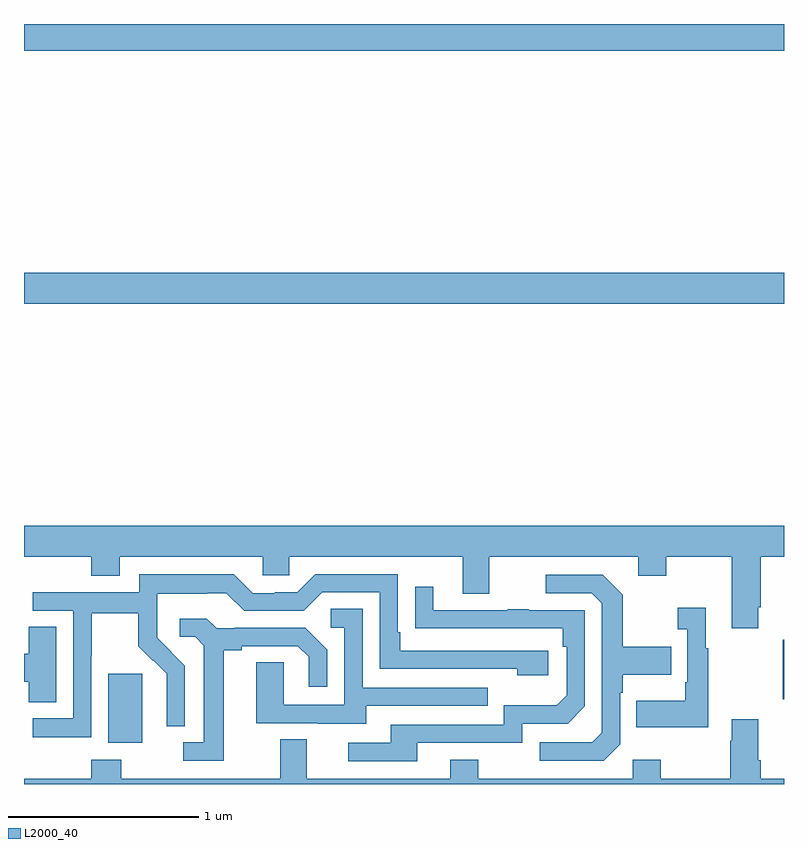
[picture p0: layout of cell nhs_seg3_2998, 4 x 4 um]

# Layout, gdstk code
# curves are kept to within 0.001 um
import gdstk
lib = gdstk.Library(unit=1e-6, precision=1e-09)
def R(c, l, rs):  # rectangles x0, y0, x1, y1
    for r in rs: c.add(gdstk.rectangle(r[:2], r[2:], *l))
def P(c, l, *ps):  # polygons
    for p in ps: c.add(gdstk.Polygon(p, *l))
L2000_40 = (2000, 40)

nhs_seg3_2998 = lib.new_cell('nhs_seg3_2998')
R(nhs_seg3_2998, L2000_40, [(267.443,686.618,267.622,686.979), (270.994,686.847,271,687.158), (267,688.928,271,689.092), (267,690.26,271,690.4)])
P(nhs_seg3_2998, L2000_40, [(270.865,687.331),(270.878,687.331),(270.878,687.596),(271,687.596),(271,687.76),(267,687.76),(267,687.596),(267.353,687.596),(267.353,687.497),(267.505,687.497),(267.505,687.596),(268.257,687.596),(268.257,687.498),(268.395,687.498),(268.395,687.596),(269.309,687.596),(269.309,687.402),(269.449,687.402),(269.449,687.596),(270.233,687.596),(270.233,687.497),(270.381,687.497),(270.381,687.596),(270.725,687.596),(270.725,687.219),(270.865,687.219)],
  [(267.354,687.076),(267.357,687.076),(267.357,687.3),(267.601,687.3),(267.601,687.125),(267.678,687.048),(267.681,687.051),(267.752,686.981),(267.752,686.858),(267.75,686.858),(267.75,686.704),(267.846,686.704),(267.846,687.022),(267.7,687.17),(267.7,687.267),(267.702,687.267),(267.702,687.401),(267.965,687.401),(267.965,687.405),(268.065,687.405),(268.158,687.312),(268.473,687.312),(268.569,687.408),(268.872,687.408),(268.872,687.006),(269.597,687.006),(269.597,686.972),(269.758,686.972),(269.758,687.102),(268.981,687.102),(268.981,687.199),(268.968,687.199),(268.968,687.504),(268.533,687.504),(268.437,687.408),(268.319,687.408),(268.319,687.405),(268.203,687.405),(268.103,687.505),(267.606,687.505),(267.606,687.408),(267.045,687.408),(267.045,687.312),(267.258,687.312),(267.258,686.745),(267.045,686.745),(267.045,686.647),(267.354,686.647)],
  [(270.138,686.61),(270.138,686.879),(270.151,686.879),(270.151,686.975),(270.407,686.975),(270.407,687.123),(270.151,687.123),(270.151,687.395),(270.045,687.501),(269.745,687.501),(269.745,687.405),(269.988,687.405),(270.042,687.351),(270.042,686.67),(269.991,686.619),(269.715,686.619),(269.715,686.523),(270.051,686.523)],
  [(269.071,686.616),(269.622,686.616),(269.622,686.718),(269.862,686.718),(269.952,686.808),(269.952,687.315),(269.657,687.315),(269.657,687.32),(269.545,687.32),(269.545,687.315),(269.155,687.315),(269.155,687.439),(269.059,687.439),(269.059,687.22),(269.836,687.219),(269.836,687.122),(269.856,687.122),(269.856,686.868),(269.803,686.815),(269.526,686.815),(269.526,686.712),(268.931,686.712),(268.931,686.616),(268.707,686.616),(268.707,686.52),(269.071,686.52)],
  [(270.601,687.115),(270.589,687.115),(270.589,687.328),(270.441,687.328),(270.441,687.215),(270.492,687.215),(270.492,686.935),(270.48,686.935),(270.48,686.839),(270.223,686.839),(270.223,686.699),(270.601,686.699)],
  [(268.801,686.811),(269.441,686.811),(269.441,686.907),(268.782,686.907),(268.782,687.323),(268.614,687.323),(268.614,687.222),(268.686,687.222),(268.686,686.817),(268.368,686.817),(268.368,687.041),(268.223,687.041),(268.223,686.721),(268.547,686.721),(268.547,686.717),(268.801,686.717)],
  [(268.051,687.104),(268.147,687.104),(268.147,687.126),(268.442,687.126),(268.499,687.069),(268.499,686.913),(268.596,686.913),(268.596,687.106),(268.48,687.222),(268.108,687.222),(268.108,687.219),(268.014,687.219),(267.962,687.271),(267.819,687.271),(267.819,687.174),(267.9,687.174),(267.947,687.127),(267.947,686.619),(267.837,686.619),(267.837,686.523),(268.051,686.523)],
  [(267.169,687.227),(267.026,687.227),(267.026,687.086),(267,687.086),(267,686.939),(267.026,686.939),(267.026,686.83),(267.169,686.83)],
  [(271,686.428),(270.878,686.428),(270.878,686.524),(270.865,686.524),(270.865,686.74),(270.725,686.74),(270.725,686.627),(270.718,686.627),(270.718,686.428),(270.351,686.428),(270.351,686.527),(270.204,686.527),(270.204,686.428),(269.391,686.428),(269.391,686.527),(269.243,686.527),(269.243,686.428),(268.489,686.428),(268.489,686.636),(268.349,686.636),(268.349,686.428),(267.513,686.428),(267.513,686.527),(267.353,686.527),(267.353,686.428),(267,686.428),(267,686.4),(271,686.4)])

lib.write_gds('nhs_seg3_2998.gds')
